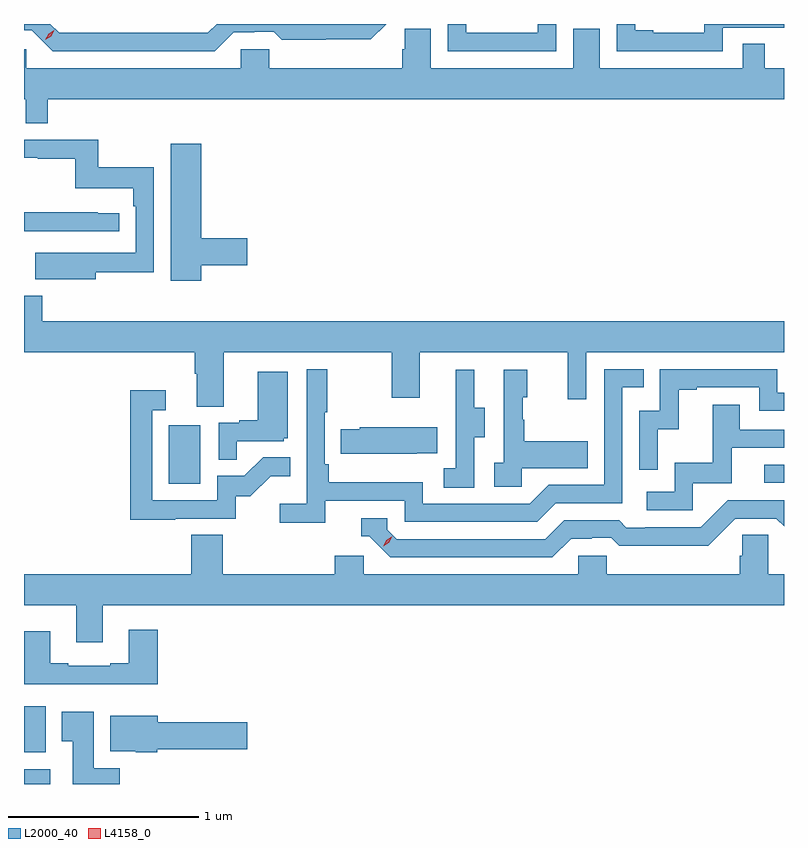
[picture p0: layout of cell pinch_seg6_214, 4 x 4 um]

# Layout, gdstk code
import gdstk
lib = gdstk.Library(unit=1e-6, precision=1e-09)
def R(c, l, rs):  # rectangles x0, y0, x1, y1
    for r in rs: c.add(gdstk.rectangle(r[:2], r[2:], *l))
def P(c, l, *ps):  # polygons
    for p in ps: c.add(gdstk.Polygon(p, *l))
L2000_40 = (2000, 40)
L4158_0 = (4158, 0)

pinch_seg6_214 = lib.new_cell('pinch_seg6_214')
R(pinch_seg6_214, L2000_40, [(1131.145,926.416,1131.283,926.494), (1131.145,926.582,1131.259,926.824), (1131.908,927.996,1132.072,928.303), (1135.041,928.002,1135.145,928.095)])
P(pinch_seg6_214, L2000_40, [(1132.249,930.372),(1132.356,930.372),(1132.356,930.375),(1132.459,930.375),(1132.501,930.333),(1132.734,930.333),(1132.734,930.335),(1132.97,930.335),(1133.051,930.416),(1132.16,930.416),(1132.113,930.369),(1131.33,930.369),(1131.283,930.416),(1131.145,930.416),(1131.145,930.384),(1131.186,930.384),(1131.297,930.273),(1132.15,930.273)],
  [(1133.946,930.416),(1133.85,930.416),(1133.85,930.369),(1133.473,930.369),(1133.473,930.416),(1133.376,930.416),(1133.376,930.273),(1133.946,930.273)],
  [(1134.822,930.396),(1135.145,930.396),(1135.145,930.416),(1134.726,930.416),(1134.726,930.369),(1134.457,930.369),(1134.457,930.382),(1134.361,930.382),(1134.361,930.416),(1134.264,930.416),(1134.264,930.273),(1134.822,930.273)],
  [(1131.269,930.02),(1135.145,930.02),(1135.145,930.184),(1135.043,930.184),(1135.043,930.311),(1134.927,930.311),(1134.927,930.184),(1134.175,930.184),(1134.175,930.392),(1134.036,930.392),(1134.036,930.184),(1133.286,930.184),(1133.286,930.392),(1133.149,930.392),(1133.149,930.282),(1133.135,930.282),(1133.135,930.184),(1132.437,930.184),(1132.437,930.282),(1132.287,930.282),(1132.287,930.184),(1131.156,930.184),(1131.156,930.282),(1131.145,930.282),(1131.145,930.02),(1131.153,930.02),(1131.153,929.893),(1131.269,929.893)],
  [(1131.523,929.11),(1131.828,929.11),(1131.828,929.662),(1131.535,929.662),(1131.535,929.808),(1131.145,929.808),(1131.145,929.712),(1131.217,929.712),(1131.217,929.707),(1131.414,929.707),(1131.414,929.552),(1131.719,929.552),(1131.719,929.456),(1131.732,929.456),(1131.732,929.211),(1131.419,929.211),(1131.419,929.212),(1131.205,929.212),(1131.205,929.072),(1131.523,929.072)],
  [(1132.078,929.146),(1132.321,929.146),(1132.321,929.288),(1132.078,929.288),(1132.078,929.785),(1131.917,929.785),(1131.917,929.064),(1132.078,929.064)],
  [(1131.646,929.421),(1131.533,929.421),(1131.533,929.426),(1131.145,929.426),(1131.145,929.325),(1131.646,929.325)],
  [(1132.195,928.688),(1133.08,928.688),(1133.08,928.449),(1133.227,928.449),(1133.227,928.688),(1134.008,928.688),(1134.008,928.44),(1134.105,928.44),(1134.105,928.688),(1135.145,928.688),(1135.145,928.852),(1131.242,928.852),(1131.242,928.987),(1131.145,928.987),(1131.145,928.688),(1132.043,928.688),(1132.043,928.576),(1132.055,928.576),(1132.055,928.402),(1132.195,928.402)],
  [(1132.73,927.906),(1133.148,927.906),(1133.148,927.795),(1133.845,927.795),(1133.944,927.894),(1134.294,927.894),(1134.294,928.503),(1134.407,928.503),(1134.407,928.599),(1134.198,928.599),(1134.198,927.99),(1133.907,927.99),(1133.808,927.891),(1133.244,927.891),(1133.244,928.003),(1132.748,928.003),(1132.748,928.099),(1132.728,928.099),(1132.728,928.372),(1132.741,928.372),(1132.741,928.6),(1132.632,928.6),(1132.632,927.892),(1132.491,927.892),(1132.491,927.79),(1132.73,927.79)],
  [(1134.48,928.283),(1134.59,928.283),(1134.59,928.491),(1134.685,928.491),(1134.685,928.503),(1135.014,928.503),(1135.014,928.38),(1135.145,928.38),(1135.145,928.476),(1135.11,928.476),(1135.11,928.599),(1134.492,928.599),(1134.492,928.38),(1134.384,928.38),(1134.384,928.071),(1134.48,928.071)],
  [(1133.514,928.24),(1133.569,928.24),(1133.569,928.395),(1133.515,928.395),(1133.515,928.597),(1133.417,928.597),(1133.417,928.383),(1133.418,928.383),(1133.418,928.079),(1133.355,928.079),(1133.355,927.976),(1133.514,927.976)],
  [(1133.766,928.079),(1134.113,928.079),(1134.113,928.219),(1133.779,928.219),(1133.779,928.334),(1133.769,928.334),(1133.769,928.452),(1133.794,928.452),(1133.794,928.597),(1133.67,928.597),(1133.67,928.106),(1133.619,928.106),(1133.619,927.981),(1133.766,927.981)],
  [(1132.265,928.221),(1132.512,928.221),(1132.512,928.236),(1132.534,928.236),(1132.534,928.585),(1132.376,928.585),(1132.376,928.33),(1132.277,928.33),(1132.277,928.317),(1132.17,928.317),(1132.17,928.123),(1132.265,928.123)],
  [(1131.941,927.813),(1132.26,927.813),(1132.26,927.93),(1132.336,927.93),(1132.443,928.037),(1132.547,928.037),(1132.547,928.136),(1132.403,928.136),(1132.305,928.038),(1132.161,928.038),(1132.161,927.909),(1131.819,927.909),(1131.819,928.383),(1131.892,928.383),(1131.892,928.489),(1131.703,928.489),(1131.703,927.808),(1131.941,927.808)],
  [(1134.666,927.999),(1134.871,927.999),(1134.871,928.185),(1135.145,928.185),(1135.145,928.281),(1134.913,928.281),(1134.913,928.411),(1134.769,928.411),(1134.769,928.108),(1134.57,928.108),(1134.57,927.954),(1134.423,927.954),(1134.423,927.858),(1134.666,927.858)],
  [(1133.213,928.157),(1133.321,928.157),(1133.321,928.294),(1132.911,928.294),(1132.911,928.284),(1132.813,928.284),(1132.813,928.154),(1133.213,928.154)],
  [(1134.025,927.708),(1134.132,927.708),(1134.132,927.711),(1134.235,927.711),(1134.277,927.669),(1134.51,927.669),(1134.51,927.671),(1134.746,927.671),(1134.888,927.813),(1135.104,927.813),(1135.145,927.772),(1135.145,927.909),(1134.849,927.909),(1134.708,927.768),(1134.415,927.768),(1134.415,927.765),(1134.316,927.765),(1134.277,927.804),(1133.988,927.804),(1133.889,927.705),(1133.106,927.705),(1133.058,927.753),(1133.058,927.816),(1132.919,927.816),(1132.919,927.72),(1132.962,927.72),(1133.073,927.609),(1133.926,927.609)],
  [(1131.559,927.356),(1135.145,927.356),(1135.145,927.52),(1135.062,927.52),(1135.062,927.728),(1134.925,927.728),(1134.925,927.618),(1134.911,927.618),(1134.911,927.52),(1134.213,927.52),(1134.213,927.618),(1134.063,927.618),(1134.063,927.52),(1132.932,927.52),(1132.932,927.618),(1132.781,927.618),(1132.781,927.52),(1132.19,927.52),(1132.19,927.728),(1132.025,927.728),(1132.025,927.52),(1131.145,927.52),(1131.145,927.356),(1131.419,927.356),(1131.419,927.162),(1131.559,927.162)],
  [(1131.848,927.229),(1131.695,927.229),(1131.695,927.052),(1131.599,927.052),(1131.599,927.039),(1131.379,927.039),(1131.379,927.052),(1131.283,927.052),(1131.283,927.22),(1131.145,927.22),(1131.145,926.942),(1131.848,926.942)],
  [(1131.65,926.5),(1131.511,926.5),(1131.511,926.797),(1131.344,926.797),(1131.344,926.641),(1131.401,926.641),(1131.401,926.416),(1131.65,926.416)],
  [(1131.846,926.599),(1132.321,926.599),(1132.321,926.741),(1131.85,926.741),(1131.85,926.776),(1131.599,926.776),(1131.599,926.588),(1131.732,926.588),(1131.732,926.582),(1131.846,926.582)])
P(pinch_seg6_214, L4158_0, [(1133.035,927.667),(1133.035,927.667),(1133.051,927.7),(1133.082,927.719),(1133.082,927.719),(1133.082,927.719),(1133.066,927.686),(1133.035,927.667)],
  [(1131.258,930.332),(1131.258,930.332),(1131.274,930.365),(1131.304,930.384),(1131.305,930.384),(1131.305,930.383),(1131.288,930.351),(1131.258,930.332)])

lib.write_gds('pinch_seg6_214.gds')
